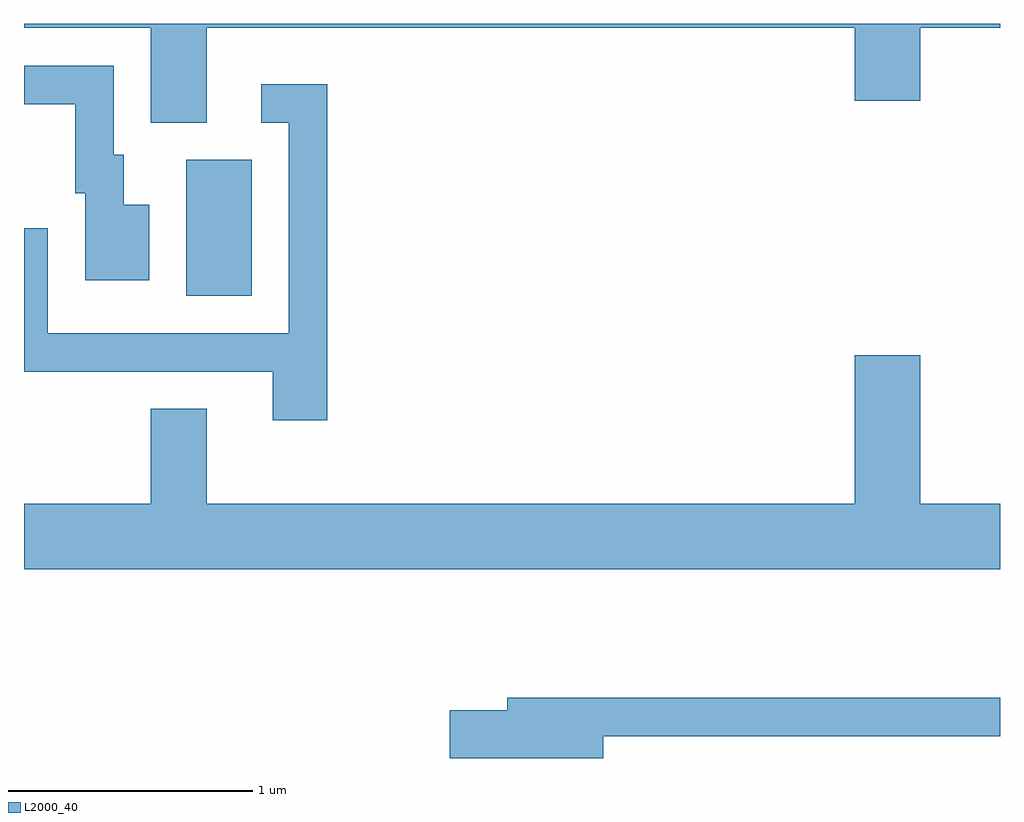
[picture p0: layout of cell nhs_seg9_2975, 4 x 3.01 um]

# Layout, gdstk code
import gdstk
lib = gdstk.Library(unit=1e-6, precision=1e-09)
def R(c, l, rs):  # rectangles x0, y0, x1, y1
    for r in rs: c.add(gdstk.rectangle(r[:2], r[2:], *l))
def P(c, l, *ps):  # polygons
    for p in ps: c.add(gdstk.Polygon(p, *l))
L2000_40 = (2000, 40)

nhs_seg9_2975 = lib.new_cell('nhs_seg9_2975')
R(nhs_seg9_2975, L2000_40, [(272.276,2057.316,272.544,2057.874)])
P(nhs_seg9_2975, L2000_40, [(272.359,2058.416),(275.016,2058.416),(275.016,2058.116),(275.284,2058.116),(275.284,2058.416),(275.611,2058.416),(275.611,2058.432),(271.611,2058.432),(271.611,2058.416),(272.131,2058.416),(272.131,2058.026),(272.359,2058.026)],
  [(272.124,2057.689),(272.019,2057.689),(272.019,2057.894),(271.979,2057.894),(271.979,2058.259),(271.611,2058.259),(271.611,2058.101),(271.821,2058.101),(271.821,2057.736),(271.861,2057.736),(271.861,2057.381),(272.124,2057.381)],
  [(272.854,2058.184),(272.583,2058.184),(272.583,2058.026),(272.696,2058.026),(272.696,2057.164),(271.709,2057.164),(271.709,2057.593),(271.611,2057.593),(271.611,2057.006),(272.631,2057.006),(272.631,2056.806),(272.854,2056.806)],
  [(275.611,2056.464),(275.284,2056.464),(275.284,2057.074),(275.016,2057.074),(275.016,2056.464),(272.359,2056.464),(272.359,2056.854),(272.131,2056.854),(272.131,2056.464),(271.611,2056.464),(271.611,2056.196),(275.611,2056.196)],
  [(273.984,2055.511),(275.611,2055.511),(275.611,2055.669),(273.591,2055.669),(273.591,2055.619),(273.356,2055.619),(273.356,2055.421),(273.984,2055.421)])

lib.write_gds('nhs_seg9_2975.gds')
